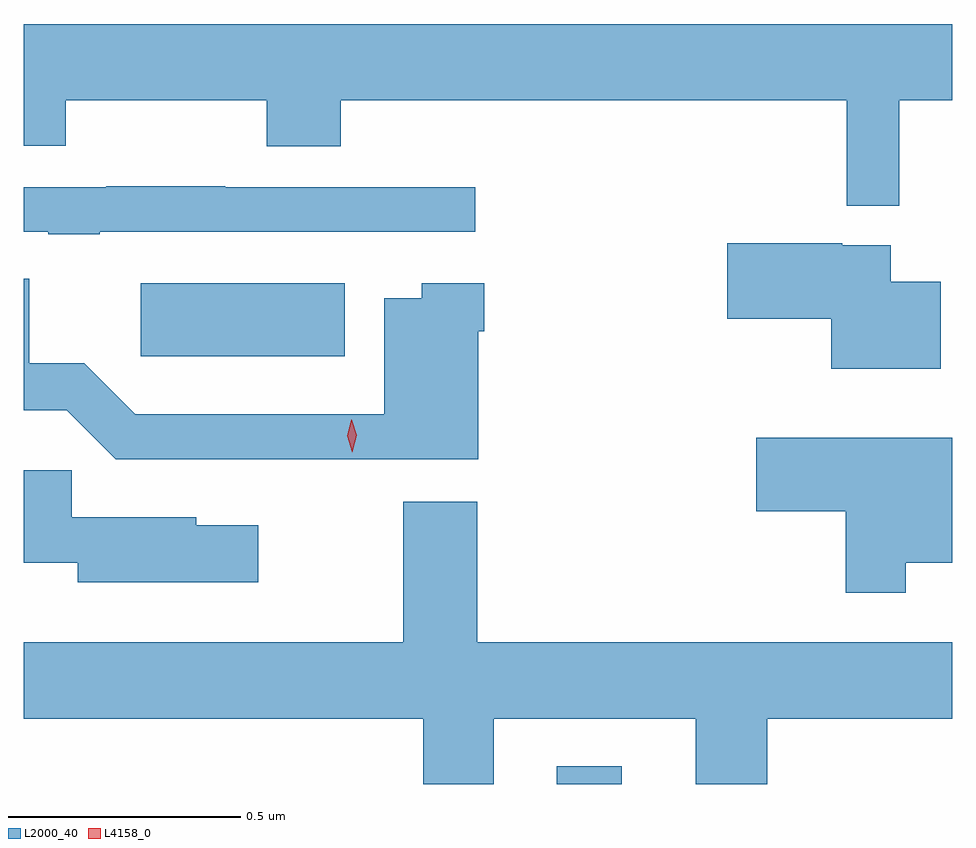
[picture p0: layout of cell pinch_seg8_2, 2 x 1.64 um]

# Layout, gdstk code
import gdstk
lib = gdstk.Library(unit=1e-6, precision=1e-09)
def R(c, l, rs):  # rectangles x0, y0, x1, y1
    for r in rs: c.add(gdstk.rectangle(r[:2], r[2:], *l))
def P(c, l, *ps):  # polygons
    for p in ps: c.add(gdstk.Polygon(p, *l))
L2000_40 = (2000, 40)
L4158_0 = (4158, 0)

pinch_seg8_2 = lib.new_cell('pinch_seg8_2')
R(pinch_seg8_2, L2000_40, [(1009.253,1153.655,1009.393,1153.693), (1008.357,1154.576,1008.796,1154.734)])
P(pinch_seg8_2, L2000_40, [(1009.991,1155.128),(1010.105,1155.128),(1010.105,1155.292),(1008.105,1155.292),(1008.105,1155.03),(1008.195,1155.03),(1008.195,1155.128),(1008.628,1155.128),(1008.628,1155.029),(1008.788,1155.029),(1008.788,1155.128),(1009.878,1155.128),(1009.878,1154.9),(1009.991,1154.9)],
  [(1008.269,1154.844),(1009.078,1154.844),(1009.078,1154.94),(1008.539,1154.94),(1008.539,1154.942),(1008.283,1154.942),(1008.283,1154.94),(1008.105,1154.94),(1008.105,1154.844),(1008.158,1154.844),(1008.158,1154.839),(1008.269,1154.839)],
  [(1010.08,1154.737),(1009.972,1154.737),(1009.972,1154.815),(1009.868,1154.815),(1009.868,1154.82),(1009.62,1154.82),(1009.62,1154.657),(1009.844,1154.657),(1009.844,1154.549),(1010.08,1154.549)],
  [(1009.084,1154.63),(1009.097,1154.63),(1009.097,1154.734),(1008.962,1154.734),(1008.962,1154.701),(1008.881,1154.701),(1008.881,1154.451),(1008.345,1154.451),(1008.235,1154.561),(1008.117,1154.561),(1008.117,1154.743),(1008.105,1154.743),(1008.105,1154.46),(1008.198,1154.46),(1008.303,1154.355),(1009.084,1154.355)],
  [(1010.005,1154.132),(1010.105,1154.132),(1010.105,1154.401),(1009.683,1154.401),(1009.683,1154.243),(1009.876,1154.243),(1009.876,1154.067),(1010.005,1154.067)],
  [(1008.61,1154.212),(1008.477,1154.212),(1008.477,1154.23),(1008.208,1154.23),(1008.208,1154.331),(1008.105,1154.331),(1008.105,1154.132),(1008.221,1154.132),(1008.221,1154.09),(1008.61,1154.09)],
  [(1009.117,1153.796),(1009.553,1153.796),(1009.553,1153.655),(1009.706,1153.655),(1009.706,1153.796),(1010.105,1153.796),(1010.105,1153.96),(1009.082,1153.96),(1009.082,1154.263),(1008.922,1154.263),(1008.922,1153.96),(1008.105,1153.96),(1008.105,1153.796),(1008.965,1153.796),(1008.965,1153.655),(1009.117,1153.655)])
P(pinch_seg8_2, L4158_0, [(1008.813,1154.37),(1008.813,1154.37),(1008.802,1154.405),(1008.81,1154.44),(1008.81,1154.44),(1008.811,1154.44),(1008.822,1154.406),(1008.813,1154.37)])

lib.write_gds('pinch_seg8_2.gds')
